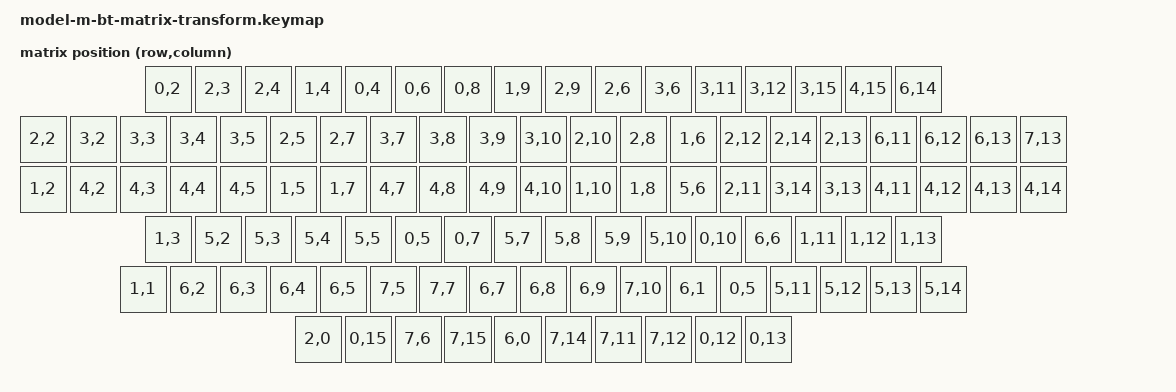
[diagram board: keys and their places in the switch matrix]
#include <dt-bindings/zmk/matrix_transform.h>

/ {
    chosen {
        zmk,kscan = &kscan0;
        zmk,matrix-transform = &default_transform;
    };

    /* define kscan node with label `kscan0`... */

    default_transform: keymap_transform_0 {
        compatible = "zmk,matrix-transform";
        columns = <16>;
        rows = <8>;

// | MX1  | MX2  | MX3  | MX4  | MX5  | MX6  | MX7  | MX8  | MX9  | MX10 | MX11 | MX12 | MX13 |    MX14     |
// |   MX15   | MX16 | MX17 | MX18 | MX19 | MX20 | MX21 | MX22 | MX23 | MX34 | MX25 | MX26 | MX27 |  MX28   |
// |    MX29    | MX30 | MX31 | MX32 | MX33 | MX34 | MX35 | MX36 | MX37 | MX38 | MX39 | MX40 |     MX41     |
// |     MX42      | MX43 | MX44 | MX45 | MX46 | MX47 | MX48 | MX49 | MX50 | MX51 | MX52 |       MX53       |
// |  MX54  |  MX55  |  MX56  |                  MX57                   |  MX58  |  MX59  |  MX60  |  MX61  |

// ------------------------------------------------------------------------------------------
// | ESC |  F1  |  F2  |  F3  |  F4  |  F5  |  F6  |  F7  |  F8  |  F9  |  F10  | F11 | F12 | PRT SCR | SLCK | PAUSE_BREAK |
// |  `  |  1  |  2  |  3  |  4  |  5  |  6  |  7  |  8  |  9  |  0  |  -  |  =  |   BKSP   | INSERT  |  HOME  |  PAGE_UP  |   WIN  | KP_SLASH | STAR | KP_MINUS |
// | TAB  |  Q  |  W  |  E  |  R  |  T  |  Y  |  U  |  I  |  O  |  P  |  [  |  ]  |   "|"   |  DELETE  |  END |  PAGE_DOWN |  KP_N7 |   KP_N8 | KP_N9 | KP_PLUS  |
// | CAPS  |  A  |  S  |  D  |  F  |  G  |  H  |  J  |  K  |  L  |  ;  |  '  |     ENTER    |                                 KP_N4 |   KP_N5 | KP_N6 |
// |  SHIFT  |  Z  |  X  |  C  |  V  |  B  |  N  |  M  |  ,  |  .  |  /  |      SHIFT       |              UP              |  KP_N1 |   KP_N2 | KP_N3 |    RET   |
// |  CTL      |  ALT  |            SPACE                                  |  ALT   |  CTL  |   LEFT  |  DOWN  |   RIGHT   |  KP_N0 |  KP_DOT |
// ------------------------------------------------------------------------------------------
        map = <
RC(0,2)            RC(2,3) RC(2,4) RC(1,4) RC(0,4) RC(0,6) RC(0,8) RC(1,9) RC(2,9) RC(2,6) RC(3,6) RC(3,11) RC(3,12)                     RC(3,15) RC(4,15) RC(6,14)
RC(2,2)  RC(3,2) RC(3,3) RC(3,4) RC(3,5) RC(2,5) RC(2,7) RC(3,7) RC(3,8) RC(3,9) RC(3,10) RC(2,10) RC(2,8) RC(1,6)                       RC(2,12) RC(2,14) RC(2,13)    RC(6,11) RC(6,12) RC(6,13) RC(7,13) 
RC(1,2)    RC(4,2) RC(4,3) RC(4,4) RC(4,5) RC(1,5) RC(1,7) RC(4,7) RC(4,8) RC(4,9) RC(4,10) RC(1,10) RC(1,8) RC(5,6)                     RC(2,11) RC(3,14) RC(3,13)    RC(4,11) RC(4,12) RC(4,13) RC(4,14) 
RC(1,3)     RC(5,2) RC(5,3) RC(5,4) RC(5,5) RC(0,5) RC(0,7) RC(5,7) RC(5,8) RC(5,9) RC(5,10) RC(0,10) RC(6,6)                                                          RC(1,11) RC(1,12) RC(1,13) 
RC(1,1)       RC(6,2) RC(6,3) RC(6,4) RC(6,5) RC(7,5) RC(7,7) RC(6,7) RC(6,8) RC(6,9) RC(7,10) RC(6,1)                                                RC(0,5)          RC(5,11) RC(5,12) RC(5,13) RC(5,14) 
RC(2,0)        RC(0,15)                           RC(7,6)                    RC(7,15)          RC(6,0)                                         RC(7,14) RC(7,11) RC(7,12)       RC(0,12) RC(0,13) 
        >;
    };

    /* potentially other overlay nodes... */
};
